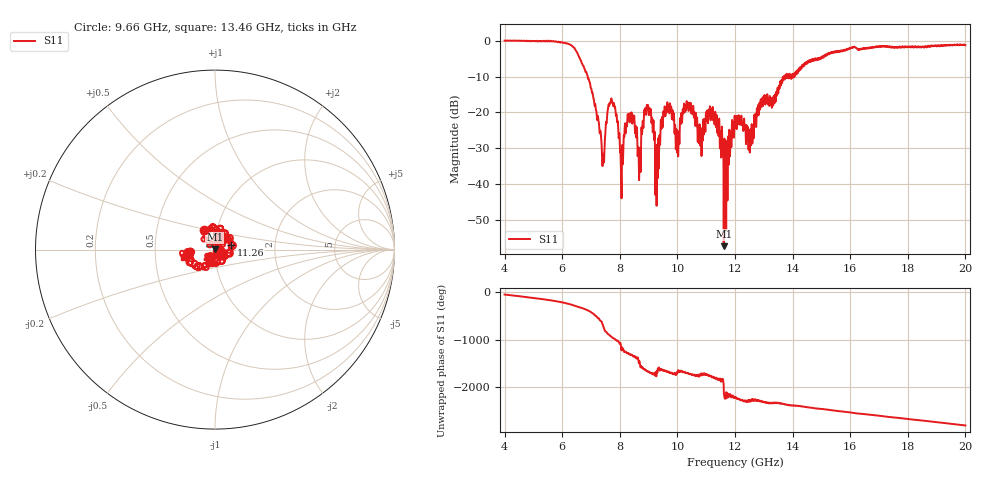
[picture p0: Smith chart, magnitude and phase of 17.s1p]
[Version] 2.0
! Rohde & Schwarz Vector Network Analyzer
! Rohde-Schwarz,ZNL20-2Port,1323001220200009,1.71.1.10-23.02.1.238
! Port Assignments:
! Nominal Port -> Actual Test Port
!  1 -> 1
! Created: GMT+2 2025-01-17 12:49:50
# Hz S RI R 50
[Number of Ports] 1
! freq[Hz]  S11[Re]  S11[Im]
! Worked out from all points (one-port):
!   16001 points, 4 GHz to 20 GHz, reference 50 ohm
!   lowest |S11| = -57.3 dB at 11.61 GHz (marker M1), VSWR 1.00, Z = 49.9 + j0.064 ohm
!   |S11| at or under -10 dB: 6.884 GHz to 13.7 GHz (6.814 GHz wide, 66.2 % of centre); 13.71203 GHz to 13.73989 GHz (27.87 MHz wide, 0.203 % of centre); 13.94134 GHz to 13.96408 GHz (22.75 MHz wide, 0.163 % of centre)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
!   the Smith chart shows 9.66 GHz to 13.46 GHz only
!   S11 on the Smith chart (normalised r, x): 9.66 GHz: 0.87, +0.19; 11.26 GHz: 1.19, +0.06; 13.46 GHz: 0.70, -0.06
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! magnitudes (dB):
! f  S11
! 4 GHz  0.0
! 6 GHz  -0.5
! 6.892 GHz  -10.4
! 7.403 GHz  -34.8
! 7.682 GHz  -17.3
! 7.863 GHz  -20.9
! 8 GHz  -29.1
! 8.083 GHz  -29.3
! 8.343 GHz  -22.7
! 8.687 GHz  -30.9
! 8.824 GHz  -23.6
! 9.003 GHz  -20.5
! 9.298 GHz  -29.2
! 9.66 GHz  -18.1
! 10 GHz  -25.7
! 10.29 GHz  -19.5
! 10.78 GHz  -23.6
! 11.26 GHz  -20.8
! 11.61 GHz  -57.3
! 11.68 GHz  -28.0
! 12 GHz  -22.6
! 12.54 GHz  -24.7
! 12.92 GHz  -18.4
! 13.46 GHz  -14.9
! 14 GHz  -10.2
! 16 GHz  -2.0
! 18 GHz  -1.6
! 20 GHz  -1.2
